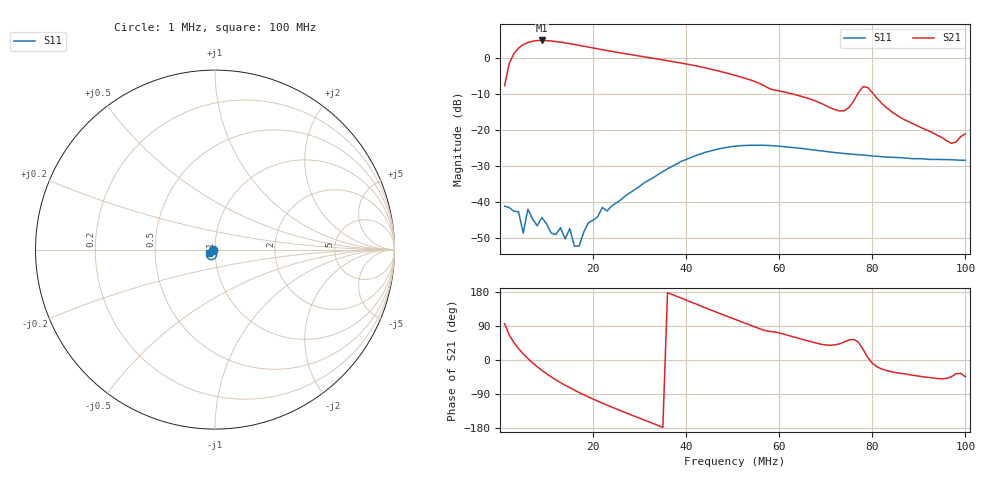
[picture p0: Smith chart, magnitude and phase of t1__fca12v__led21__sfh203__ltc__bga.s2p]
# HZ S RI R 50
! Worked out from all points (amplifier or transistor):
!   100 points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, 1 MHz to 100 MHz, reference 50 ohm
!   highest |S21| = 5.0 dB at 9 MHz (marker M1)
!   |S21| within 3 dB of that: 3.432 MHz to 23.8 MHz (20.37 MHz wide, 150 % of centre)
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1000001  -0.00874 -9.81e-05  -0.042 0.414  0 0  0 0
2000001  -0.00833 0.00025  0.346 0.7818  0 0  0 0
4000001  -0.00721 0.00091  1.208 0.6989  0 0  0 0
5000001  0.00147 -0.00337  1.494 0.4393  0 0  0 0
6000001  -0.000184 0.00792  1.668 0.1118  0 0  0 0
8000001  -0.00368 0.00284  1.691 -0.5387  0 0  0 0
9000001  -0.00436 -0.00421  1.586 -0.8116  0 0  0 0
1.3e7  -0.00376 -0.00225  0.8565 -1.454  0 0  0 0
1.4e7  -0.00225 -0.00208  0.6564 -1.513  0 0  0 0
1.5e7  -0.00299 -0.00301  0.4644 -1.541  0 0  0 0
1.6e7  -0.000728 -0.00231  0.2812 -1.541  0 0  0 0
1.8e7  -0.000113 -0.0038  -0.0466 -1.481  0 0  0 0
2.5e7  0.00283 -0.0093  -0.7714 -0.9482  0 0  0 0
3.4e7  0.00861 -0.0226  -0.97 -0.1212  0 0  0 0
4.3e7  0.00122 -0.0463  -0.6159 0.4582  0 0  0 0
5.1e7  -0.0238 -0.0555  -0.1472 0.5501  0 0  0 0
6.7e7  -0.0454 -0.028  0.1793 0.1977  0 0  0 0
7.4e7  -0.0424 -0.021  0.1262 0.1383  0 0  0 0
7.8e7  -0.0411 -0.0187  0.3547 0.1934  0 0  0 0
8.4e7  -0.038 -0.0177  0.1589 -0.094  0 0  0 0
9.7e7  -0.0348 -0.017  0.0472 -0.0456  0 0  0 0
1e8  -0.034 -0.0171  0.0641 -0.0621  0 0  0 0
